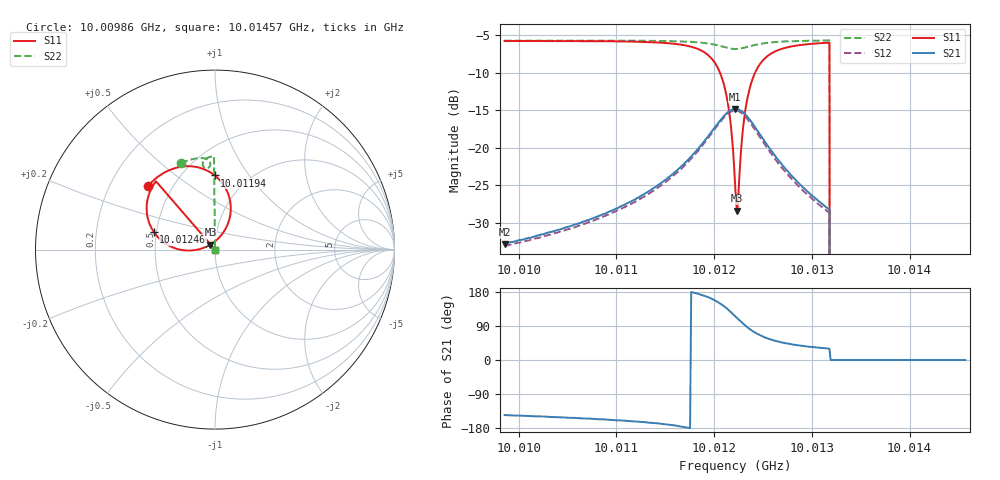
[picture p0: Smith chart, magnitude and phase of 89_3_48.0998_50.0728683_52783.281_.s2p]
#  HZ  S  RI  R  50.00
! Rohde & Schwarz Vector Network Analyzer
! Rohde-Schwarz,ZNB20-2Port,1311601062101988,3.16
! Created: UTC 12/23/2023, 3:43:34 AM
! freq[Hz]  re:S11  im:S11  re:S21  im:S21  re:S12  im:S12  re:S22  im:S22
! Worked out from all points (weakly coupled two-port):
!   401 points, 10.00986 GHz to 10.01457 GHz, reference 50 ohm
!   highest |S21| = -14.82 dB at 10.01221 GHz (marker M1); lowest = -32.9 dB at 10.00986 GHz (marker M2)
!   lowest |S11| = -28.4 dB at 10.01224 GHz (marker M3), VSWR 1.08, Z = 47.5 + j2.69 ohm
!   |S11| at or under -10 dB: 10.01206 GHz to 10.01242 GHz (358.2 kHz wide, 0.00358 % of centre); 10.01318 GHz to end of sweep
!   |S22| runs from - to -5.7 dB; largest |S21 - S12| = 0.0086
!   S11 on the Smith chart (normalised r, x): 10.00986 GHz: 0.36, +0.35; 10.01194 GHz: 0.71, +0.70; 10.01246 GHz: 0.48, +0.11; 10.01457 GHz: 1.00, +0.00
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1.0009855e10  -0.3731 0.3563  -0.0186 -0.0129  -0.0175 -0.0133  -0.1904 0.4823
1.0010645e10  -0.3176 0.406  -0.0286 -0.0139  -0.0268 -0.0147  -0.1399 0.4999
1.0011435e10  -0.2119 0.4571  -0.0554 -0.0124  -0.0528 -0.0143  -0.0822 0.51
1.0011766e10  -0.105 0.4606  -0.0873 0.000819  -0.0844 -0.0036  -0.0517 0.5065
1.0011942e10  -0.0013 0.4132  -0.1163 0.0302  -0.1144 0.0236  -0.0332 0.4951
1.0012049e10  0.0685 0.3224  -0.1299 0.0716  -0.1301 0.0635  -0.0258 0.4802
1.0012119e10  0.0877 0.2174  -0.1251 0.1114  -0.1269 0.1037  -0.0277 0.4668
1.0012166e10  0.0678 0.1337  -0.1078 0.1407  -0.111 0.1332  -0.0336 0.459
1.0012214e10  0.013 0.057  -0.0792 0.1634  -0.0837 0.156  -0.0433 0.4544
1.0012225e10  -0.00517 0.0419  -0.0709 0.1671  -0.0752 0.16  -0.046 0.454
1.0012237e10  -0.0252 0.0283  -0.062 0.17  -0.0664 0.1634  -0.0488 0.4541
1.0012249e10  -0.0462 0.0171  -0.0533 0.172  -0.0573 0.1657  -0.0515 0.4546
1.0012296e10  -0.1356 -0.00511  -0.0182 0.1714  -0.0222 0.1656  -0.0609 0.4593
1.0012332e10  -0.1985 0.000514  0.00529 0.1635  6.46e-05 0.1578  -0.0657 0.465
1.001239e10  -0.2815 0.0376  0.0332 0.1422  0.0278 0.1373  -0.069 0.4759
1.0012461e10  -0.3415 0.0993  0.0497 0.1145  0.0441 0.1111  -0.0672 0.4877
1.001265e10  -0.3809 0.2339  0.0548 0.0634  0.0498 0.0624  -0.0512 0.5065
1.0013004e10  -0.3487 0.3506  0.0394 0.0269  0.0364 0.0274  -0.0197 0.5182
1.0013157e10  -0.3314 0.3773  0.034 0.0202  0.0316 0.0206  -0.00738 0.5201
1.0013216e10  0 0  0 0  0 0  0 0
1.0013794e10  0 0  0 0  0 0  0 0
1.0014572e10  0 0  0 0  0 0  0 0
